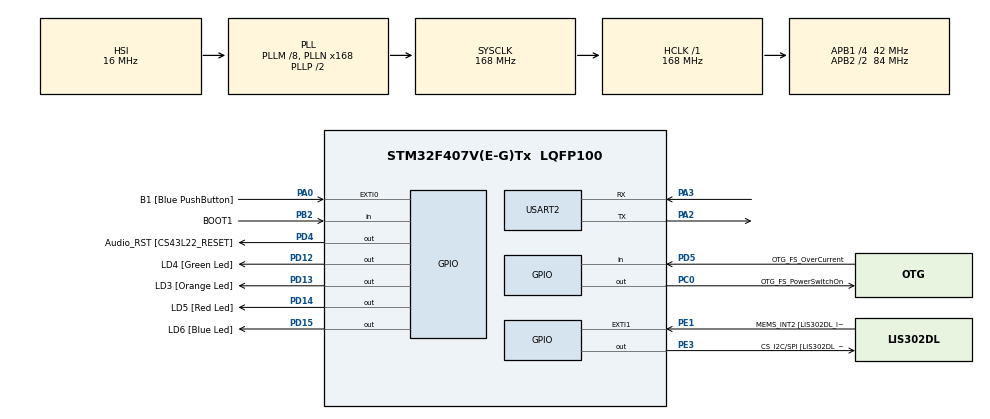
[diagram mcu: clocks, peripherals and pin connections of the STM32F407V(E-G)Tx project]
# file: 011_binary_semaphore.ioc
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Mcu.Family=STM32F4
Mcu.Name=STM32F407V(E-G)Tx
Mcu.Package=LQFP100
NVIC.PriorityGroup=NVIC_PRIORITYGROUP_4
NVIC.TIM6_DAC_IRQn=true\:0\:0\:false\:false\:true\:false\:true\:true
NVIC.TimeBase=TIM6_DAC_IRQn
NVIC.TimeBaseIP=TIM6
PA0-WKUP.GPIO_Label=B1 [Blue PushButton]
PA0-WKUP.Signal=GPXTI0
PA10.GPIO_Label=OTG_FS_ID
PA10.GPIO_Mode=GPIO_MODE_AF_PP
PA10.GPIO_PuPd=GPIO_NOPULL
PA10.GPIO_Speed=GPIO_SPEED_FREQ_LOW
PA10.Signal=USB_OTG_FS_ID
PA11.GPIO_Label=OTG_FS_DM
PA11.GPIO_Mode=GPIO_MODE_AF_PP
PA11.GPIO_PuPd=GPIO_NOPULL
PA11.GPIO_Speed=GPIO_SPEED_FREQ_LOW
PA11.Signal=USB_OTG_FS_DM
PA12.GPIO_Label=OTG_FS_DP
PA12.GPIO_Mode=GPIO_MODE_AF_PP
PA12.GPIO_PuPd=GPIO_NOPULL
PA12.GPIO_Speed=GPIO_SPEED_FREQ_LOW
PA12.Signal=USB_OTG_FS_DP
PA13.GPIO_Label=SWDIO
PA13.Signal=SYS_JTMS-SWDIO
PA14.GPIO_Label=SWCLK
PA14.Signal=SYS_JTCK-SWCLK
PA2.Mode=Asynchronous
PA2.Signal=USART2_TX
PA3.Mode=Asynchronous
PA3.Signal=USART2_RX
PA4.GPIO_Label=I2S3_WS [CS43L22_LRCK]
PA4.GPIO_Mode=GPIO_MODE_AF_PP
PA4.GPIO_PuPd=GPIO_NOPULL
PA4.GPIO_Speed=GPIO_SPEED_FREQ_LOW
PA4.Signal=I2S3_WS
PA5.GPIO_Label=SPI1_SCK [LIS302DL_SCL/SPC]
PA5.GPIO_Mode=GPIO_MODE_AF_PP
PA5.GPIO_PuPd=GPIO_NOPULL
PA5.GPIO_Speed=GPIO_SPEED_FREQ_LOW
PA5.Signal=SPI1_SCK
PA6.GPIO_Label=SPI1_MISO [LIS302DL_SDO]
PA6.GPIO_Mode=GPIO_MODE_AF_PP
PA6.GPIO_PuPd=GPIO_NOPULL
PA6.GPIO_Speed=GPIO_SPEED_FREQ_LOW
PA6.Signal=SPI1_MISO
PA7.GPIO_Label=SPI1_MOSI [LIS302DL_SDA/SDI/SDO]
PA7.GPIO_Mode=GPIO_MODE_AF_PP
PA7.GPIO_PuPd=GPIO_NOPULL
PA7.GPIO_Speed=GPIO_SPEED_FREQ_LOW
PA7.Signal=SPI1_MOSI
PA9.GPIO_Label=VBUS_FS
PA9.GPIO_Mode=GPIO_MODE_INPUT
PA9.GPIO_PuPd=GPIO_NOPULL
PA9.Signal=USB_OTG_FS_VBUS
PB10.GPIO_Label=CLK_IN [MP45DT02_CLK]
PB10.GPIO_Mode=GPIO_MODE_AF_PP
PB10.GPIO_PuPd=GPIO_NOPULL
PB10.GPIO_Speed=GPIO_SPEED_FREQ_LOW
PB10.Signal=I2S2_CK
PB2.GPIO_Label=BOOT1
PB2.GPIO_Mode=GPIO_MODE_INPUT
PB2.GPIO_PuPd=GPIO_NOPULL
PB2.Signal=GPIO_Input
PB3.GPIO_Label=SWO
PB3.Signal=SYS_JTDO-SWO
PB6.GPIO_Label=Audio_SCL [CS43L22_SCL]
PB6.GPIO_Mode=GPIO_MODE_AF_OD
PB6.GPIO_PuPd=GPIO_NOPULL
PB6.GPIO_Speed=GPIO_SPEED_FREQ_LOW
PB6.Signal=I2C1_SCL
PB9.GPIO_Label=Audio_SDA [CS43L22_SDA]
PB9.GPIO_Mode=GPIO_MODE_AF_OD
PB9.GPIO_PuPd=GPIO_NOPULL
PB9.GPIO_Speed=GPIO_SPEED_FREQ_LOW
PB9.Signal=I2C1_SDA
PC0.GPIO_Label=OTG_FS_PowerSwitchOn
PC0.GPIO_PuPd=GPIO_NOPULL
PC0.GPIO_Speed=GPIO_SPEED_FREQ_LOW
PC0.PinState=GPIO_PIN_SET
PC0.Signal=GPIO_Output
PC10.GPIO_Label=I2S3_SCK [CS43L22_SCLK]
PC10.GPIO_Mode=GPIO_MODE_AF_PP
PC10.GPIO_PuPd=GPIO_NOPULL
PC10.GPIO_Speed=GPIO_SPEED_FREQ_LOW
PC10.Signal=I2S3_CK
PC12.GPIO_Label=I2S3_SD [CS43L22_SDIN]
PC12.GPIO_Mode=GPIO_MODE_AF_PP
PC12.GPIO_PuPd=GPIO_NOPULL
PC12.GPIO_Speed=GPIO_SPEED_FREQ_LOW
PC12.Signal=I2S3_SD
PC14-OSC32_IN.GPIO_Label=PC14-OSC32_IN
PC14-OSC32_IN.Signal=RCC_OSC32_IN
PC15-OSC32_OUT.GPIO_Label=PC15-OSC32_OUT
PC15-OSC32_OUT.Signal=RCC_OSC32_OUT
PC3.GPIO_Label=PDM_OUT [MP45DT02_DOUT]
PC3.GPIO_Mode=GPIO_MODE_AF_PP
PC3.GPIO_PuPd=GPIO_NOPULL
PC3.GPIO_Speed=GPIO_SPEED_FREQ_LOW
PC3.Signal=I2S2_SD
PC7.GPIO_Label=I2S3_MCK [CS43L22_MCLK]
PC7.GPIO_Mode=GPIO_MODE_AF_PP
PC7.GPIO_PuPd=GPIO_NOPULL
PC7.GPIO_Speed=GPIO_SPEED_FREQ_LOW
PC7.Signal=I2S3_MCK
PD12.GPIO_Label=LD4 [Green Led]
PD12.GPIO_PuPd=GPIO_NOPULL
PD12.GPIO_Speed=GPIO_SPEED_FREQ_LOW
PD12.Signal=GPIO_Output
PD13.GPIO_Label=LD3 [Orange Led]
PD13.GPIO_PuPd=GPIO_NOPULL
PD13.GPIO_Speed=GPIO_SPEED_FREQ_LOW
PD13.Signal=GPIO_Output
PD14.GPIO_Label=LD5 [Red Led]
PD14.GPIO_PuPd=GPIO_NOPULL
PD14.GPIO_Speed=GPIO_SPEED_FREQ_LOW
PD14.Signal=GPIO_Output
PD15.GPIO_Label=LD6 [Blue Led]
PD15.GPIO_PuPd=GPIO_NOPULL
PD15.GPIO_Speed=GPIO_SPEED_FREQ_LOW
PD15.Signal=GPIO_Output
PD4.GPIO_Label=Audio_RST [CS43L22_RESET]
PD4.GPIO_PuPd=GPIO_NOPULL
PD4.GPIO_Speed=GPIO_SPEED_FREQ_LOW
PD4.Signal=GPIO_Output
PD5.GPIO_Label=OTG_FS_OverCurrent
PD5.GPIO_Mode=GPIO_MODE_INPUT
PD5.GPIO_PuPd=GPIO_NOPULL
PD5.Signal=GPIO_Input
PE1.GPIO_Label=MEMS_INT2 [LIS302DL_INT2]
PE1.GPIO_ModeDefaultEXTI=GPIO_MODE_EVT_RISING
PE1.GPIO_PuPd=GPIO_NOPULL
PE1.Signal=GPXTI1
PE3.GPIO_Label=CS_I2C/SPI [LIS302DL_CS_I2C/SPI]
PE3.GPIO_PuPd=GPIO_NOPULL
PE3.GPIO_Speed=GPIO_SPEED_FREQ_LOW
PE3.Signal=GPIO_Output
PH0-OSC_IN.GPIO_Label=PH0-OSC_IN
PH0-OSC_IN.Signal=RCC_OSC_IN
PH1-OSC_OUT.GPIO_Label=PH1-OSC_OUT
PH1-OSC_OUT.Signal=RCC_OSC_OUT
ProjectManager.HeapSize=0x200
ProjectManager.StackSize=0x400
ProjectManager.TargetToolchain=STM32CubeIDE
RCC.48MHZClocksFreq_Value=48000000
RCC.AHBFreq_Value=168000000
RCC.APB1CLKDivider=RCC_HCLK_DIV4
RCC.APB1Freq_Value=42000000
RCC.APB1TimFreq_Value=84000000
RCC.APB2CLKDivider=RCC_HCLK_DIV2
RCC.APB2Freq_Value=84000000
RCC.APB2TimFreq_Value=168000000
RCC.CortexFreq_Value=168000000
RCC.HCLKFreq_Value=168000000
RCC.HSE_VALUE=8000000
RCC.HSI_VALUE=16000000
RCC.LSE_VALUE=32768
RCC.PLLM=8
RCC.PLLN=168
RCC.PLLQ=7
RCC.SYSCLKFreq_VALUE=168000000
RCC.SYSCLKSource=RCC_SYSCLKSOURCE_PLLCLK
RCC.VCOOutputFreq_Value=336000000
USART2.VirtualMode=VM_ASYNC
VP_SYS_VS_tim6.Mode=TIM6
board=STM32F407G-DISC1

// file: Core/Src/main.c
/* USER CODE BEGIN Header */
/**
  ******************************************************************************
  * @file           : main.c
  * @brief          : Main program body
  ******************************************************************************
  * @attention
  *
  * Copyright (c) 2025 STMicroelectronics.
  * All rights reserved.
  *
  * This software is licensed under terms that can be found in the LICENSE file
  * in the root directory of this software component.
  * If no LICENSE file comes with this software, it is provided AS-IS.
  *
  ******************************************************************************
  */
/* USER CODE END Header */
#include "main.h"

/* USER CODE BEGIN Includes */
#include <stdio.h>
#include <stdlib.h>
#include <string.h>
#include "ringbuffer.h"

// freertos
#include "FreeRTOS.h"
#include "task.h"
#include "semphr.h"
#include "queue.h"
/* USER CODE END Includes */

/* USER CODE BEGIN PD */
#define DWT_CTRL	(*(volatile uint32_t*)0xE0001000)
/* USER CODE END PD */

UART_HandleTypeDef huart2;

/* USER CODE BEGIN PV */
char usr_msg[250] = {0};

TaskHandle_t xTaskHandleM = NULL;
TaskHandle_t xTaskHandleE = NULL;

/* Declare a variable of type xSemaphoreHandle.  This is used to reference the
semaphore that is used to synchronize both manager and employee task */
xSemaphoreHandle xWork;

/* this is the queue which manager uses to put the work ticket id */
xQueueHandle xWorkQueue;

char readBuf[1];
uint8_t txData;
__IO ITStatus UartReady = SET;
__IO ITStatus UartTxComplete = SET;
RingBuffer txBuf, rxBuf;
/* USER CODE END PV */

void SystemClock_Config(void);
static void MX_GPIO_Init(void);
static void MX_USART2_UART_Init(void);
/* USER CODE BEGIN PFP */
void printmsg(char *msg);
void prvSetupGpio(void);

static void vManagerTask( void *pvParameters );
static void vEmployeeTask( void *pvParameters );

int _write(int file, char *ptr, int len)
{
  if (UART_Transmit(&huart2, (uint8_t *)ptr, len))
  {
    // Wait for transmission to complete to ensure log integrity
    while (UartTxComplete == RESET || RingBuffer_GetDataLength(&txBuf) > 0)
    {
      // Allow other interrupts to process
      __NOP();
    }
    return len;
  }
  return 0; // Return 0 on failure
}
/* USER CODE END PFP */

int main(void)
{

  /* MCU Configuration--------------------------------------------------------*/

  /* Reset of all peripherals, Initializes the Flash interface and the Systick. */
  HAL_Init();

  /* Configure the system clock */
  SystemClock_Config();

  /* Initialize all configured peripherals */
  MX_GPIO_Init();
  MX_USART2_UART_Init();
  /* USER CODE BEGIN 2 */
  RingBuffer_Init(&txBuf);
  RingBuffer_Init(&rxBuf);

  DWT_CTRL |= (1 << 0);

  printf("demo of binary semaphore \r\n");

  vSemaphoreCreateBinary(xWork);

  xWorkQueue = xQueueCreate(1, sizeof(unsigned int));

  if ( (xWork != NULL) && (xWorkQueue != NULL))
  {
	  xTaskCreate(vManagerTask, "Manager", 500, NULL, 3, NULL);
	  xTaskCreate(vEmployeeTask, "Employee", 500, NULL, 1, NULL);
	  vTaskStartScheduler();
  }

  printf("queue/sema create failed\r\n");

  /* USER CODE END 2 */

  /* Infinite loop */
  while (1)
  {

  }
}

void SystemClock_Config(void)
{
  RCC_OscInitTypeDef RCC_OscInitStruct = {0};
  RCC_ClkInitTypeDef RCC_ClkInitStruct = {0};

  /** Configure the main internal regulator output voltage
  */
  __HAL_RCC_PWR_CLK_ENABLE();
  __HAL_PWR_VOLTAGESCALING_CONFIG(PWR_REGULATOR_VOLTAGE_SCALE1);

  /** Initializes the RCC Oscillators according to the specified parameters
  * in the RCC_OscInitTypeDef structure.
  */
  RCC_OscInitStruct.OscillatorType = RCC_OSCILLATORTYPE_HSI;
  RCC_OscInitStruct.HSIState = RCC_HSI_ON;
  RCC_OscInitStruct.HSICalibrationValue = RCC_HSICALIBRATION_DEFAULT;
  RCC_OscInitStruct.PLL.PLLState = RCC_PLL_ON;
  RCC_OscInitStruct.PLL.PLLSource = RCC_PLLSOURCE_HSI;
  RCC_OscInitStruct.PLL.PLLM = 8;
  RCC_OscInitStruct.PLL.PLLN = 168;
  RCC_OscInitStruct.PLL.PLLP = RCC_PLLP_DIV2;
  RCC_OscInitStruct.PLL.PLLQ = 7;
  if (HAL_RCC_OscConfig(&RCC_OscInitStruct) != HAL_OK)
  {
    Error_Handler();
  }

  /** Initializes the CPU, AHB and APB buses clocks
  */
  RCC_ClkInitStruct.ClockType = RCC_CLOCKTYPE_HCLK|RCC_CLOCKTYPE_SYSCLK
                              |RCC_CLOCKTYPE_PCLK1|RCC_CLOCKTYPE_PCLK2;
  RCC_ClkInitStruct.SYSCLKSource = RCC_SYSCLKSOURCE_PLLCLK;
  RCC_ClkInitStruct.AHBCLKDivider = RCC_SYSCLK_DIV1;
  RCC_ClkInitStruct.APB1CLKDivider = RCC_HCLK_DIV4;
  RCC_ClkInitStruct.APB2CLKDivider = RCC_HCLK_DIV2;

  if (HAL_RCC_ClockConfig(&RCC_ClkInitStruct, FLASH_LATENCY_5) != HAL_OK)
  {
    Error_Handler();
  }
}

static void MX_USART2_UART_Init(void)
{

  huart2.Instance = USART2;
  huart2.Init.BaudRate = 115200;
  huart2.Init.WordLength = UART_WORDLENGTH_8B;
  huart2.Init.StopBits = UART_STOPBITS_1;
  huart2.Init.Parity = UART_PARITY_NONE;
  huart2.Init.Mode = UART_MODE_TX_RX;
  huart2.Init.HwFlowCtl = UART_HWCONTROL_NONE;
  huart2.Init.OverSampling = UART_OVERSAMPLING_16;
  if (HAL_UART_Init(&huart2) != HAL_OK)
  {
    Error_Handler();
  }
  /* USER CODE BEGIN USART2_Init 2 */
  /* Enable UART2 interrupt */
  HAL_NVIC_SetPriority(USART2_IRQn, 5, 0);
  HAL_NVIC_EnableIRQ(USART2_IRQn);
  /* USER CODE END USART2_Init 2 */

}

static void MX_GPIO_Init(void)
{
  GPIO_InitTypeDef GPIO_InitStruct = {0};

  /* GPIO Ports Clock Enable */
  __HAL_RCC_GPIOE_CLK_ENABLE();
  __HAL_RCC_GPIOC_CLK_ENABLE();
  __HAL_RCC_GPIOH_CLK_ENABLE();
  __HAL_RCC_GPIOA_CLK_ENABLE();
  __HAL_RCC_GPIOB_CLK_ENABLE();
  __HAL_RCC_GPIOD_CLK_ENABLE();

  /*Configure GPIO pin Output Level */
  HAL_GPIO_WritePin(CS_I2C_SPI_GPIO_Port, CS_I2C_SPI_Pin, GPIO_PIN_RESET);

  /*Configure GPIO pin Output Level */
  HAL_GPIO_WritePin(OTG_FS_PowerSwitchOn_GPIO_Port, OTG_FS_PowerSwitchOn_Pin, GPIO_PIN_SET);

  /*Configure GPIO pin Output Level */
  HAL_GPIO_WritePin(GPIOD, LD4_Pin|LD3_Pin|LD5_Pin|LD6_Pin
                          |Audio_RST_Pin, GPIO_PIN_RESET);

  /*Configure GPIO pin : CS_I2C_SPI_Pin */
  GPIO_InitStruct.Pin = CS_I2C_SPI_Pin;
  GPIO_InitStruct.Mode = GPIO_MODE_OUTPUT_PP;
  GPIO_InitStruct.Pull = GPIO_NOPULL;
  GPIO_InitStruct.Speed = GPIO_SPEED_FREQ_LOW;
  HAL_GPIO_Init(CS_I2C_SPI_GPIO_Port, &GPIO_InitStruct);

  /*Configure GPIO pin : OTG_FS_PowerSwitchOn_Pin */
  GPIO_InitStruct.Pin = OTG_FS_PowerSwitchOn_Pin;
  GPIO_InitStruct.Mode = GPIO_MODE_OUTPUT_PP;
  GPIO_InitStruct.Pull = GPIO_NOPULL;
  GPIO_InitStruct.Speed = GPIO_SPEED_FREQ_LOW;
  HAL_GPIO_Init(OTG_FS_PowerSwitchOn_GPIO_Port, &GPIO_InitStruct);

  /*Configure GPIO pin : PDM_OUT_Pin */
  GPIO_InitStruct.Pin = PDM_OUT_Pin;
  GPIO_InitStruct.Mode = GPIO_MODE_AF_PP;
  GPIO_InitStruct.Pull = GPIO_NOPULL;
  GPIO_InitStruct.Speed = GPIO_SPEED_FREQ_LOW;
  GPIO_InitStruct.Alternate = GPIO_AF5_SPI2;
  HAL_GPIO_Init(PDM_OUT_GPIO_Port, &GPIO_InitStruct);

  /*Configure GPIO pin : B1_Pin */
  GPIO_InitStruct.Pin = B1_Pin;
  GPIO_InitStruct.Mode = GPIO_MODE_IT_RISING;
  GPIO_InitStruct.Pull = GPIO_NOPULL;
  HAL_GPIO_Init(B1_GPIO_Port, &GPIO_InitStruct);

  /*Configure GPIO pin : I2S3_WS_Pin */
  GPIO_InitStruct.Pin = I2S3_WS_Pin;
  GPIO_InitStruct.Mode = GPIO_MODE_AF_PP;
  GPIO_InitStruct.Pull = GPIO_NOPULL;
  GPIO_InitStruct.Speed = GPIO_SPEED_FREQ_LOW;
  GPIO_InitStruct.Alternate = GPIO_AF6_SPI3;
  HAL_GPIO_Init(I2S3_WS_GPIO_Port, &GPIO_InitStruct);

  /*Configure GPIO pins : SPI1_SCK_Pin SPI1_MISO_Pin SPI1_MOSI_Pin */
  GPIO_InitStruct.Pin = SPI1_SCK_Pin|SPI1_MISO_Pin|SPI1_MOSI_Pin;
  GPIO_InitStruct.Mode = GPIO_MODE_AF_PP;
  GPIO_InitStruct.Pull = GPIO_NOPULL;
  GPIO_InitStruct.Speed = GPIO_SPEED_FREQ_LOW;
  GPIO_InitStruct.Alternate = GPIO_AF5_SPI1;
  HAL_GPIO_Init(GPIOA, &GPIO_InitStruct);

  /*Configure GPIO pin : BOOT1_Pin */
  GPIO_InitStruct.Pin = BOOT1_Pin;
  GPIO_InitStruct.Mode = GPIO_MODE_INPUT;
  GPIO_InitStruct.Pull = GPIO_NOPULL;
  HAL_GPIO_Init(BOOT1_GPIO_Port, &GPIO_InitStruct);

  /*Configure GPIO pin : CLK_IN_Pin */
  GPIO_InitStruct.Pin = CLK_IN_Pin;
  GPIO_InitStruct.Mode = GPIO_MODE_AF_PP;
  GPIO_InitStruct.Pull = GPIO_NOPULL;
  GPIO_InitStruct.Speed = GPIO_SPEED_FREQ_LOW;
  GPIO_InitStruct.Alternate = GPIO_AF5_SPI2;
  HAL_GPIO_Init(CLK_IN_GPIO_Port, &GPIO_InitStruct);

  /*Configure GPIO pins : LD4_Pin LD3_Pin LD5_Pin LD6_Pin
                           Audio_RST_Pin */
  GPIO_InitStruct.Pin = LD4_Pin|LD3_Pin|LD5_Pin|LD6_Pin
                          |Audio_RST_Pin;
  GPIO_InitStruct.Mode = GPIO_MODE_OUTPUT_PP;
  GPIO_InitStruct.Pull = GPIO_NOPULL;
  GPIO_InitStruct.Speed = GPIO_SPEED_FREQ_LOW;
  HAL_GPIO_Init(GPIOD, &GPIO_InitStruct);

  /*Configure GPIO pins : I2S3_MCK_Pin I2S3_SCK_Pin I2S3_SD_Pin */
  GPIO_InitStruct.Pin = I2S3_MCK_Pin|I2S3_SCK_Pin|I2S3_SD_Pin;
  GPIO_InitStruct.Mode = GPIO_MODE_AF_PP;
  GPIO_InitStruct.Pull = GPIO_NOPULL;
  GPIO_InitStruct.Speed = GPIO_SPEED_FREQ_LOW;
  GPIO_InitStruct.Alternate = GPIO_AF6_SPI3;
  HAL_GPIO_Init(GPIOC, &GPIO_InitStruct);

  /*Configure GPIO pin : VBUS_FS_Pin */
  GPIO_InitStruct.Pin = VBUS_FS_Pin;
  GPIO_InitStruct.Mode = GPIO_MODE_INPUT;
  GPIO_InitStruct.Pull = GPIO_NOPULL;
  HAL_GPIO_Init(VBUS_FS_GPIO_Port, &GPIO_InitStruct);

  /*Configure GPIO pins : OTG_FS_ID_Pin OTG_FS_DM_Pin OTG_FS_DP_Pin */
  GPIO_InitStruct.Pin = OTG_FS_ID_Pin|OTG_FS_DM_Pin|OTG_FS_DP_Pin;
  GPIO_InitStruct.Mode = GPIO_MODE_AF_PP;
  GPIO_InitStruct.Pull = GPIO_NOPULL;
  GPIO_InitStruct.Speed = GPIO_SPEED_FREQ_LOW;
  GPIO_InitStruct.Alternate = GPIO_AF10_OTG_FS;
  HAL_GPIO_Init(GPIOA, &GPIO_InitStruct);

  /*Configure GPIO pin : OTG_FS_OverCurrent_Pin */
  GPIO_InitStruct.Pin = OTG_FS_OverCurrent_Pin;
  GPIO_InitStruct.Mode = GPIO_MODE_INPUT;
  GPIO_InitStruct.Pull = GPIO_NOPULL;
  HAL_GPIO_Init(OTG_FS_OverCurrent_GPIO_Port, &GPIO_InitStruct);

  /*Configure GPIO pins : Audio_SCL_Pin Audio_SDA_Pin */
  GPIO_InitStruct.Pin = Audio_SCL_Pin|Audio_SDA_Pin;
  GPIO_InitStruct.Mode = GPIO_MODE_AF_OD;
  GPIO_InitStruct.Pull = GPIO_NOPULL;
  GPIO_InitStruct.Speed = GPIO_SPEED_FREQ_LOW;
  GPIO_InitStruct.Alternate = GPIO_AF4_I2C1;
  HAL_GPIO_Init(GPIOB, &GPIO_InitStruct);

  /*Configure GPIO pin : MEMS_INT2_Pin */
  GPIO_InitStruct.Pin = MEMS_INT2_Pin;
  GPIO_InitStruct.Mode = GPIO_MODE_EVT_RISING;
  GPIO_InitStruct.Pull = GPIO_NOPULL;
  HAL_GPIO_Init(MEMS_INT2_GPIO_Port, &GPIO_InitStruct);

}

/* USER CODE BEGIN 4 */
uint8_t UART_Transmit(UART_HandleTypeDef *huart, uint8_t *pData, uint16_t len)
{
  UartTxComplete = RESET; // Mark transmission as in progress
  if (HAL_UART_Transmit_IT(huart, pData, len) != HAL_OK)
  {
    if (RingBuffer_Write(&txBuf, pData, len) != RING_BUFFER_OK)
      return 0;
  }
  return 1;
}

void HAL_UART_RxCpltCallback(UART_HandleTypeDef *UartHandle)
{
  /* Set transmission flag: transfer complete*/
  UartReady = SET;
}

void HAL_UART_TxCpltCallback(UART_HandleTypeDef *huart)
{
  if (huart == &huart2)
  {
    if (RingBuffer_GetDataLength(&txBuf) > 0)
    {
      RingBuffer_Read(&txBuf, &txData, 1);
      HAL_UART_Transmit_IT(huart, &txData, 1);
    }
    else
    {
      UartTxComplete = SET; // Mark transmission as complete when buffer is empty
    }
  }
}

static void vManagerTask( void *pvParameters )
{
	unsigned int xWorkTicketId;
	portBASE_TYPE xStatus;

	xSemaphoreGive(xWork);

	for (;;)
	{
		xWorkTicketId = (rand() & 0x1FF);
		xStatus = xQueueSend(xWorkQueue, &xWorkTicketId, portMAX_DELAY);

		if (xStatus != pdPASS)
		{
			printf("could not send to the queue\r\n");
		}
		else
		{
			xSemaphoreGive(xWork);
			taskYIELD();
		}
	}
}

void EmployeeDoWork(unsigned char TicketId)
{
	/* implement the work according to TickedID */
	snprintf(usr_msg, sizeof(usr_msg), "Employee task : Working on Ticked id : %d\r\n", TicketId);
	printf(usr_msg);
	vTaskDelay(TicketId);
}

static void vEmployeeTask( void *pvParameters )
{

	unsigned char xWorkTicketId;
	portBASE_TYPE xStatus;
    for( ;; )
    {
		/* First Employee tries to take the semaphore, if it is available that means there is a task assigned by manager, otherwise employee task will be blocked */
		xSemaphoreTake( xWork, 0 );

		/* get the ticket id from the work queue */
		xStatus = xQueueReceive( xWorkQueue, &xWorkTicketId, 0 );

		if( xStatus == pdPASS )
		{
		  /* employee may decode the xWorkTicketId in this function to do the work*/
			EmployeeDoWork(xWorkTicketId);
		}
		else
		{
			/* We did not receive anything from the queue.  This must be an error as this task should only run when the manager assigns at least one work. */
			printf("Employee task : Queue is empty , nothing to do.\r\n");
		}
    }
}

/**
  * @brief  UART error callback
  * @param  huart: UART handle
  * @retval None
  */
void HAL_UART_ErrorCallback(UART_HandleTypeDef *huart)
{
  if (huart->Instance == USART2)
  {
    // Mark transmission as complete on error to prevent deadlock
    UartTxComplete = SET;
  }
}
/* USER CODE END 4 */

void HAL_TIM_PeriodElapsedCallback(TIM_HandleTypeDef *htim)
{
  if (htim->Instance == TIM6)
  {
    HAL_IncTick();
  }
}

void Error_Handler(void)
{
  __disable_irq();
  while (1)
  {
  }
}
